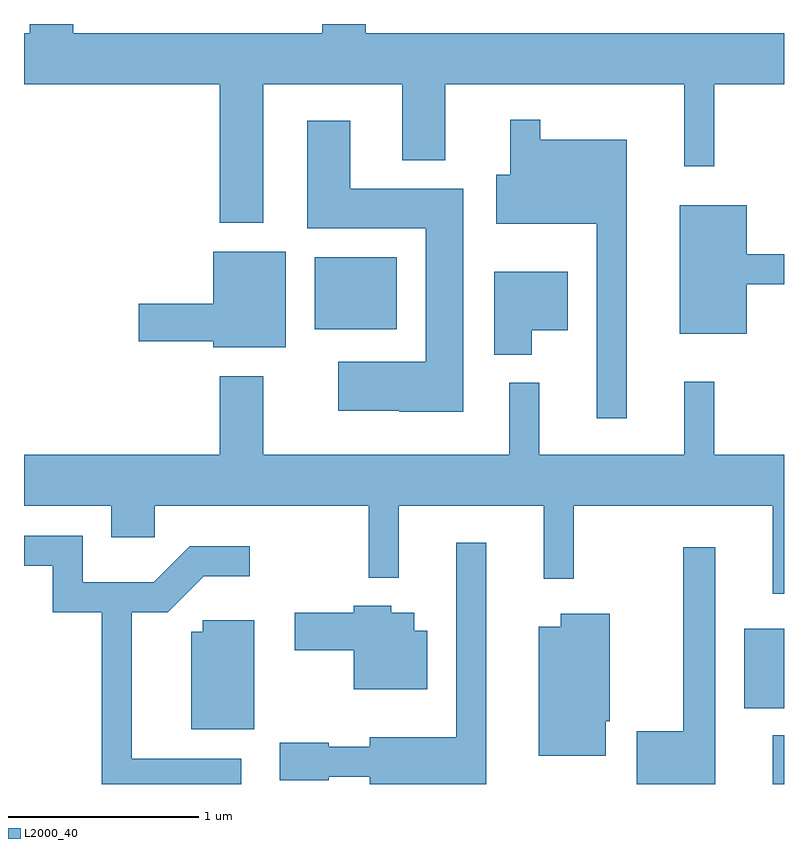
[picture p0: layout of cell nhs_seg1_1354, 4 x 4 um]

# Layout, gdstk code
import gdstk
lib = gdstk.Library(unit=1e-6, precision=1e-09)
def R(c, l, rs):  # rectangles x0, y0, x1, y1
    for r in rs: c.add(gdstk.rectangle(r[:2], r[2:], *l))
def P(c, l, *ps):  # polygons
    for p in ps: c.add(gdstk.Polygon(p, *l))
L2000_40 = (2000, 40)

nhs_seg1_1354 = lib.new_cell('nhs_seg1_1354')
R(nhs_seg1_1354, L2000_40, [(231.551,853.712,231.611,853.968), (231.401,854.111,231.611,854.529), (229.141,856.106,229.574,856.484)])
P(nhs_seg1_1354, L2000_40, [(229.409,857.712),(229.181,857.712),(229.181,857.664),(227.869,857.664),(227.869,857.712),(227.641,857.712),(227.641,857.664),(227.611,857.664),(227.611,857.396),(228.641,857.396),(228.641,856.666),(228.869,856.666),(228.869,857.396),(229.601,857.396),(229.601,856.996),(229.829,856.996),(229.829,857.396),(231.086,857.396),(231.086,856.963),(231.244,856.963),(231.244,857.396),(231.611,857.396),(231.611,857.664),(229.409,857.664)],
  [(230.784,857.104),(230.329,857.104),(230.329,857.208),(230.171,857.208),(230.171,856.919),(230.096,856.919),(230.096,856.661),(230.626,856.661),(230.626,855.638),(230.784,855.638)],
  [(229.924,856.844),(229.329,856.844),(229.329,857.204),(229.101,857.204),(229.101,856.636),(229.726,856.636),(229.726,855.934),(229.266,855.934),(229.266,855.676),(229.585,855.676),(229.585,855.671),(229.924,855.671)],
  [(231.414,856.341),(231.611,856.341),(231.611,856.499),(231.414,856.499),(231.414,856.759),(231.061,856.759),(231.061,856.081),(231.414,856.081)],
  [(228.989,856.514),(228.606,856.514),(228.606,856.239),(228.216,856.239),(228.216,856.041),(228.606,856.041),(228.606,856.011),(228.989,856.011)],
  [(230.284,856.101),(230.474,856.101),(230.474,856.409),(230.086,856.409),(230.086,855.971),(230.284,855.971)],
  [(231.611,855.444),(231.244,855.444),(231.244,855.828),(231.086,855.828),(231.086,855.444),(230.324,855.444),(230.324,855.823),(230.166,855.823),(230.166,855.444),(228.869,855.444),(228.869,855.859),(228.641,855.859),(228.641,855.444),(227.611,855.444),(227.611,855.176),(228.071,855.176),(228.071,855.011),(228.299,855.011),(228.299,855.176),(229.426,855.176),(229.426,854.798),(229.584,854.798),(229.584,855.176),(230.346,855.176),(230.346,854.793),(230.504,854.793),(230.504,855.176),(231.551,855.176),(231.551,854.713),(231.611,854.713)],
  [(228.754,853.844),(228.179,853.844),(228.179,854.616),(228.367,854.616),(228.557,854.806),(228.798,854.806),(228.798,854.964),(228.484,854.964),(228.294,854.774),(227.919,854.774),(227.919,855.019),(227.611,855.019),(227.611,854.861),(227.761,854.861),(227.761,854.616),(228.021,854.616),(228.021,853.712),(228.754,853.712)],
  [(230.044,854.983),(229.886,854.983),(229.886,853.959),(229.431,853.959),(229.431,853.909),(229.214,853.909),(229.214,853.929),(228.956,853.929),(228.956,853.731),(229.214,853.731),(229.214,853.751),(229.431,853.751),(229.431,853.712),(230.044,853.712)],
  [(231.249,854.958),(231.081,854.958),(231.081,853.989),(230.836,853.989),(230.836,853.712),(231.249,853.712)],
  [(229.734,854.519),(229.664,854.519),(229.664,854.614),(229.544,854.614),(229.544,854.649),(229.346,854.649),(229.346,854.614),(229.036,854.614),(229.036,854.416),(229.346,854.416),(229.346,854.211),(229.734,854.211)],
  [(230.674,854.041),(230.694,854.041),(230.694,854.609),(230.436,854.609),(230.436,854.539),(230.321,854.539),(230.321,853.861),(230.674,853.861)],
  [(228.824,854.574),(228.551,854.574),(228.551,854.514),(228.491,854.514),(228.491,854.001),(228.824,854.001)])

lib.write_gds('nhs_seg1_1354.gds')
